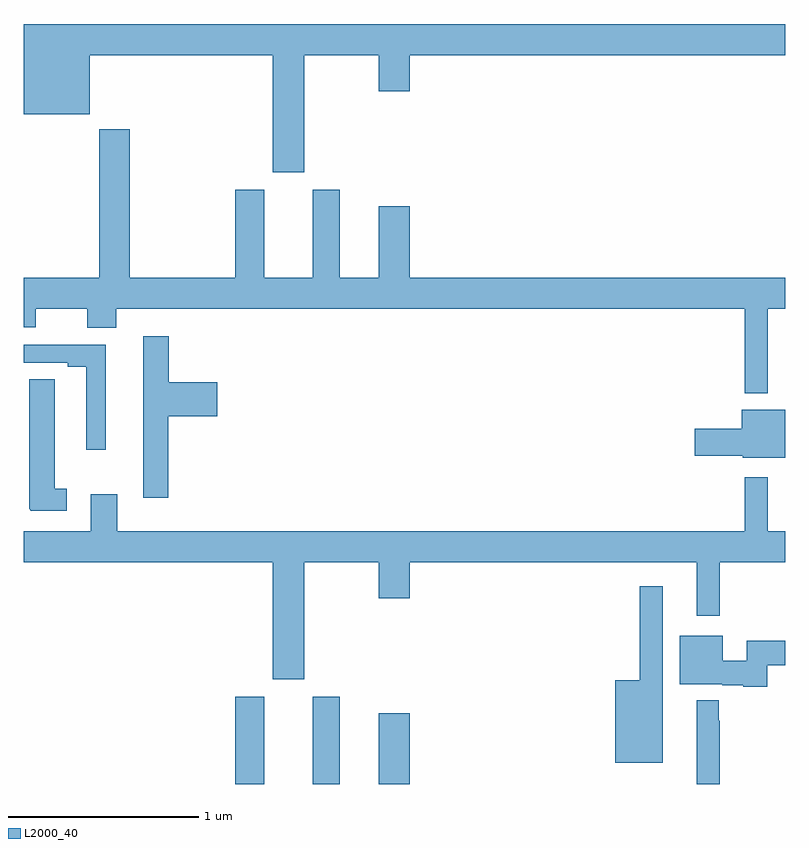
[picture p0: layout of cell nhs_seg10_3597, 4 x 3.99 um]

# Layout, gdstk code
import gdstk
lib = gdstk.Library(unit=1e-6, precision=1e-09)
def R(c, l, rs):  # rectangles x0, y0, x1, y1
    for r in rs: c.add(gdstk.rectangle(r[:2], r[2:], *l))
def P(c, l, *ps):  # polygons
    for p in ps: c.add(gdstk.Polygon(p, *l))
L2000_40 = (2000, 40)

nhs_seg10_3597 = lib.new_cell('nhs_seg10_3597')
R(nhs_seg10_3597, L2000_40, [(308.111,1284.5,308.263,1284.958), (308.519,1284.5,308.659,1284.958), (308.864,1284.5,309.028,1284.871)])
P(nhs_seg10_3597, L2000_40, [(308.473,1288.328),(308.864,1288.328),(308.864,1288.14),(309.028,1288.14),(309.028,1288.328),(311,1288.328),(311,1288.492),(307,1288.492),(307,1288.019),(307.348,1288.019),(307.348,1288.328),(308.309,1288.328),(308.309,1287.714),(308.473,1287.714)],
  [(310.909,1286.996),(311,1286.996),(311,1287.16),(309.028,1287.16),(309.028,1287.535),(308.864,1287.535),(308.864,1287.16),(308.659,1287.16),(308.659,1287.622),(308.519,1287.622),(308.519,1287.16),(308.263,1287.16),(308.263,1287.622),(308.111,1287.622),(308.111,1287.16),(307.556,1287.16),(307.556,1287.94),(307.396,1287.94),(307.396,1287.16),(307,1287.16),(307,1286.898),(307.063,1286.898),(307.063,1286.996),(307.334,1286.996),(307.334,1286.897),(307.487,1286.897),(307.487,1286.996),(310.788,1286.996),(310.788,1286.552),(310.909,1286.552)],
  [(307.76,1286.432),(308.017,1286.432),(308.017,1286.61),(307.763,1286.61),(307.763,1286.851),(307.628,1286.851),(307.628,1286.004),(307.76,1286.004)],
  [(307.432,1286.808),(307,1286.808),(307,1286.712),(307.232,1286.712),(307.232,1286.692),(307.328,1286.692),(307.328,1286.256),(307.432,1286.256)],
  [(307.225,1286.051),(307.162,1286.051),(307.162,1286.627),(307.028,1286.627),(307.028,1285.945),(307.038,1285.935),(307.225,1285.935)],
  [(310.999,1286.467),(310.772,1286.467),(310.772,1286.366),(310.524,1286.366),(310.524,1286.224),(310.776,1286.224),(310.776,1286.213),(310.999,1286.213)],
  [(307.492,1286.023),(307.352,1286.023),(307.352,1285.828),(307,1285.828),(307,1285.664),(308.309,1285.664),(308.309,1285.05),(308.473,1285.05),(308.473,1285.664),(308.864,1285.664),(308.864,1285.476),(309.028,1285.476),(309.028,1285.664),(310.535,1285.664),(310.535,1285.383),(310.657,1285.383),(310.657,1285.664),(311,1285.664),(311,1285.828),(310.909,1285.828),(310.909,1286.11),(310.788,1286.11),(310.788,1285.828),(307.492,1285.828)],
  [(310.357,1285.54),(310.236,1285.54),(310.236,1285.045),(310.106,1285.045),(310.106,1284.611),(310.357,1284.611)],
  [(310.906,1285.123),(311,1285.123),(311,1285.252),(310.797,1285.252),(310.797,1285.148),(310.672,1285.148),(310.672,1285.279),(310.445,1285.279),(310.445,1285.025),(310.668,1285.025),(310.668,1285.019),(310.779,1285.019),(310.779,1285.012),(310.906,1285.012)],
  [(310.657,1284.833),(310.65,1284.833),(310.65,1284.94),(310.535,1284.94),(310.535,1284.5),(310.657,1284.5)])

lib.write_gds('nhs_seg10_3597.gds')
